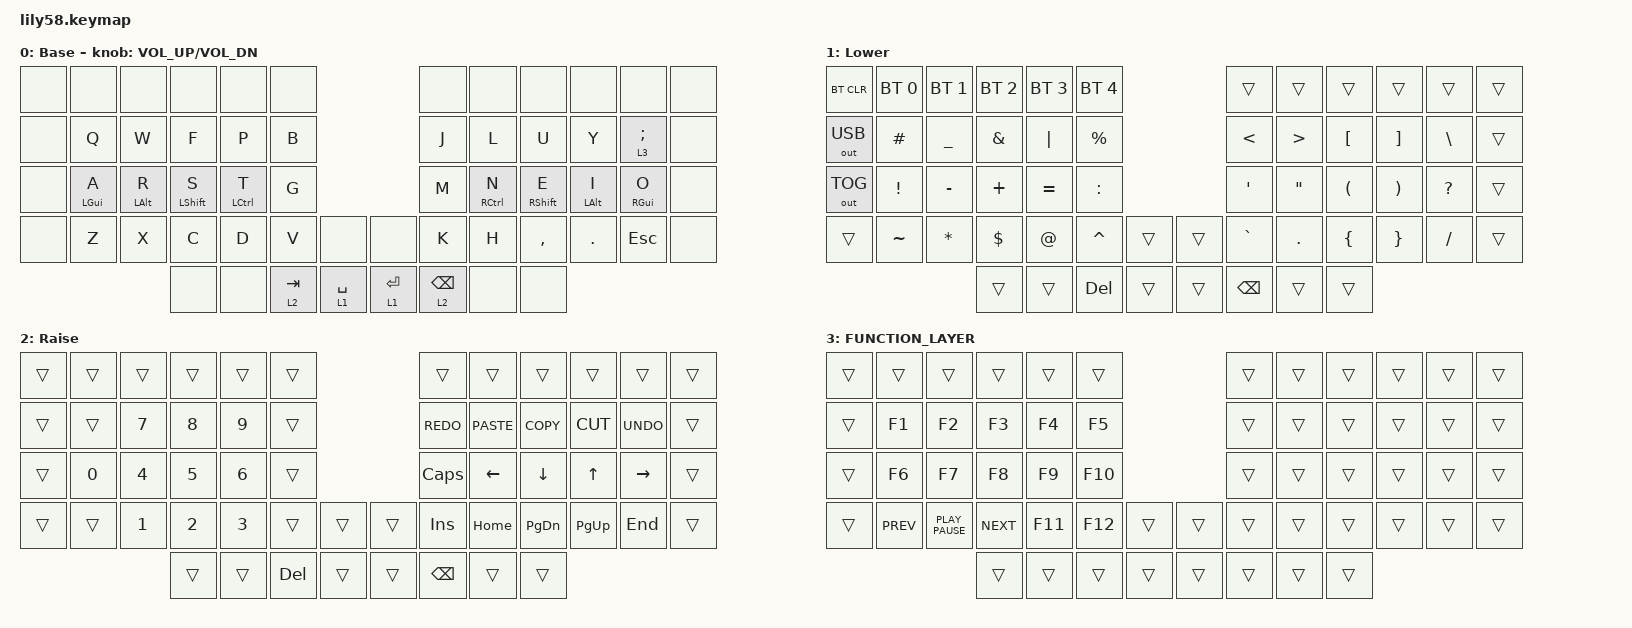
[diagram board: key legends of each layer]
/*
 * Copyright (c) 2020 The ZMK Contributors
 *
 * SPDX-License-Identifier: MIT
 */

#include <behaviors.dtsi>
#include <dt-bindings/zmk/bt.h>
#include <dt-bindings/zmk/keys.h>
#include <dt-bindings/zmk/outputs.h>

/ {
    behaviors {
        hm: homerow_mods {
            compatible = "zmk,behavior-hold-tap";
            label = "HOMEROW_MODS";
            #binding-cells = <2>;
            tapping-term-ms = <175>;    // The time to distinguish between a tap and a hold
            quick-tap-ms = <125>;       // Enable quick tap
            global-quick-tap;           // Enable global quick tap
            flavor = "tap-preferred";    // Prefer tap when both tap and hold are possible
            bindings = <&kp>, <&kp>;
        };
    };

    keymap {
        compatible = "zmk,keymap";

        default_layer {
            // ------------------------------------------------------------------------------------------------------------
            // |  ESC  |  1  |  2  |  3   |  4   |  5   |                   |  6   |  7    |  8    |  9   |   0   |   `   |
            // |  TAB  |  Q  |  W  |  E   |  R   |  T   |                   |  Y   |  U    |  I    |  O   |   P   |   -   |
            // |  CTRL |  A  |  S  |  D   |  F   |  G   |                   |  H   |  J    |  K    |  L   |   ;   |   '   |
            // | SHIFT |  Z  |  X  |  C   |  V   |  B   |   "["  |  |  "]"  |  N   |  M    |  ,    |  .   |   /   | SHIFT |
            //                     | ALT  | GUI  | LOWER|  SPACE |  | ENTER | RAISE| BSPC  | GUI   |

            display-name = "Base";
            bindings = <
&none  &none           &none           &none             &none               &none                                  &none            &none                &none              &none           &none            &none
&none  &kp Q           &kp W           &kp F             &kp P               &kp B                                  &kp J            &kp L                &kp U              &kp Y           &lt 3 SEMICOLON  &none
&none  &hm LEFT_GUI A  &hm LEFT_ALT R  &hm LEFT_SHIFT S  &hm LEFT_CONTROL T  &kp G                                  &kp M            &hm RIGHT_CONTROL N  &hm RIGHT_SHIFT E  &hm LEFT_ALT I  &hm RIGHT_GUI O  &none
&none  &kp Z           &kp X           &kp C             &kp D               &kp V      &none          &none        &kp K            &kp H                &kp COMMA          &kp DOT         &kp ESC          &none
                                       &none             &none               &lt 2 TAB  &lt 1 SPACE    &lt 1 ENTER  &lt 2 BACKSPACE  &none                &none
            >;

            sensor-bindings = <&inc_dec_kp C_VOL_UP C_VOL_DN>;
        };

        symbol_layer {
            // Rest of the layers remain the same...

            display-name = "Lower";
            bindings = <
&bt BT_CLR    &bt BT_SEL 0  &bt BT_SEL 1    &bt BT_SEL 2   &bt BT_SEL 3  &bt BT_SEL 4                    &trans            &trans             &trans                &trans                 &trans         &trans
&out OUT_USB  &kp HASH      &kp UNDERSCORE  &kp AMPERSAND  &kp PIPE      &kp PERCENT                     &kp LESS_THAN     &kp GREATER_THAN   &kp LEFT_BRACKET      &kp RIGHT_BRACKET      &kp BACKSLASH  &trans
&out OUT_TOG  &kp EXCL      &kp MINUS       &kp PLUS       &kp EQUAL     &kp COLON                       &kp SINGLE_QUOTE  &kp DOUBLE_QUOTES  &kp LEFT_PARENTHESIS  &kp RIGHT_PARENTHESIS  &kp QUESTION   &trans
&trans        &kp TILDE     &kp ASTERISK    &kp DOLLAR     &kp AT_SIGN   &kp CARET     &trans    &trans  &kp GRAVE         &kp PERIOD         &kp LEFT_BRACE        &kp RIGHT_BRACE        &kp SLASH      &trans
                                            &trans         &trans        &kp DEL       &trans    &trans  &kp BACKSPACE     &trans             &trans
            >;
        };

        nav_layer {
            display-name = "Raise";
            bindings = <
&trans  &trans        &trans  &trans  &trans  &trans                        &trans         &trans       &trans      &trans     &trans      &trans
&trans  &trans        &kp N7  &kp N8  &kp N9  &trans                        &kp K_REDO     &kp K_PASTE  &kp K_COPY  &kp K_CUT  &kp K_UNDO  &trans
&trans  &kp NUMBER_0  &kp N4  &kp N5  &kp N6  &trans                        &kp CAPSLOCK   &kp LEFT     &kp DOWN    &kp UP     &kp RIGHT   &trans
&trans  &trans        &kp N1  &kp N2  &kp N3  &trans      &trans    &trans  &kp INSERT     &kp HOME     &kp PG_DN   &kp PG_UP  &kp END     &trans
                              &trans  &trans  &kp DELETE  &trans    &trans  &kp BACKSPACE  &trans       &trans
            >;
        };

        FUNCTION_LAYER {
            bindings = <
&trans  &trans      &trans            &trans      &trans   &trans                     &trans  &trans  &trans  &trans  &trans  &trans
&trans  &kp F1      &kp F2            &kp F3      &kp F4   &kp F5                     &trans  &trans  &trans  &trans  &trans  &trans
&trans  &kp F6      &kp F7            &kp F8      &kp F9   &kp F10                    &trans  &trans  &trans  &trans  &trans  &trans
&trans  &kp K_PREV  &kp K_PLAY_PAUSE  &kp K_NEXT  &kp F11  &kp F12  &trans    &trans  &trans  &trans  &trans  &trans  &trans  &trans
                                      &trans      &trans   &trans   &trans    &trans  &trans  &trans  &trans
            >;
        };
    };
};
